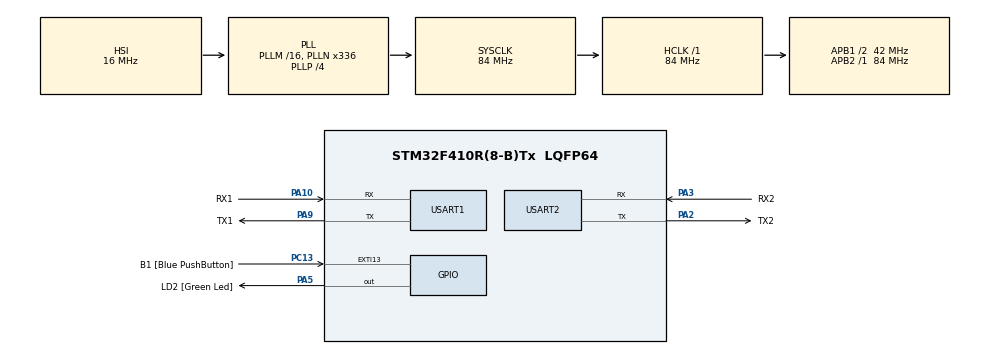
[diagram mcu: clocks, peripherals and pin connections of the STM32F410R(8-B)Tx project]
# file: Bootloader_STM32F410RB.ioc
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Mcu.Family=STM32F4
Mcu.Name=STM32F410R(8-B)Tx
Mcu.Package=LQFP64
NVIC.PriorityGroup=NVIC_PRIORITYGROUP_0
NVIC.USART1_IRQn=true\:0\:0\:false\:false\:true\:true
NVIC.USART2_IRQn=true\:0\:0\:false\:false\:true\:true
PA10.GPIO_Label=RX1
PA10.Mode=Asynchronous
PA10.Signal=USART1_RX
PA13.GPIO_Label=TMS
PA13.Mode=Serial_Wire
PA13.Signal=SYS_JTMS-SWDIO
PA14.GPIO_Label=TCK
PA14.Mode=Serial_Wire
PA14.Signal=SYS_JTCK-SWCLK
PA2.GPIO_Label=TX2
PA2.Mode=Asynchronous
PA2.Signal=USART2_TX
PA3.GPIO_Label=RX2
PA3.Mode=Asynchronous
PA3.Signal=USART2_RX
PA5.GPIO_Label=LD2 [Green Led]
PA5.Signal=GPIO_Output
PA9.GPIO_Label=TX1
PA9.Mode=Asynchronous
PA9.Signal=USART1_TX
PB3.GPIO_Label=SWO
PB3.Signal=SYS_JTDO-SWO
PC13-ANTI_TAMP.GPIO_Label=B1 [Blue PushButton]
PC13-ANTI_TAMP.GPIO_ModeDefaultEXTI=GPIO_MODE_IT_FALLING
PC13-ANTI_TAMP.Signal=GPXTI13
PC14-OSC32_IN.Mode=LSE-External-Oscillator
PC14-OSC32_IN.Signal=RCC_OSC32_IN
PC15-OSC32_OUT.Mode=LSE-External-Oscillator
PC15-OSC32_OUT.Signal=RCC_OSC32_OUT
PH0\ -\ OSC_IN.Mode=HSE-External-Clock-Source
PH0\ -\ OSC_IN.Signal=RCC_OSC_IN
PH1\ -\ OSC_OUT.Mode=HSE-External-Clock-Source
PH1\ -\ OSC_OUT.Signal=RCC_OSC_OUT
ProjectManager.HeapSize=0x200
ProjectManager.StackSize=0x400
ProjectManager.TargetToolchain=TrueSTUDIO
RCC.48MHZClocksFreq_Value=84000000
RCC.AHBFreq_Value=84000000
RCC.APB1CLKDivider=RCC_HCLK_DIV2
RCC.APB1Freq_Value=42000000
RCC.APB1TimFreq_Value=84000000
RCC.APB2Freq_Value=84000000
RCC.APB2TimFreq_Value=84000000
RCC.CortexFreq_Value=84000000
RCC.FLatency-AdvancedSettings=FLASH_LATENCY_2
RCC.HCLKFreq_Value=84000000
RCC.HSE_VALUE=8000000
RCC.HSI_VALUE=16000000
RCC.PLLN=336
RCC.PLLP=RCC_PLLP_DIV4
RCC.SYSCLKFreq_VALUE=84000000
RCC.SYSCLKSource=RCC_SYSCLKSOURCE_PLLCLK
RCC.VCOOutputFreq_Value=336000000
USART1.VirtualMode=VM_ASYNC
USART2.VirtualMode=VM_ASYNC
VP_CRC_VS_CRC.Mode=CRC_Activate
board=NUCLEO-F410RB

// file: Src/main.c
/* USER CODE BEGIN Header */
/**
  ******************************************************************************
  * @file           : main.c
  * @brief          : Main program body
  ******************************************************************************
  ** This notice applies to any and all portions of this file
  * that are not between comment pairs USER CODE BEGIN and
  * USER CODE END. Other portions of this file, whether
  * inserted by the user or by software development tools
  * are owned by their respective copyright owners.
  *
  * COPYRIGHT(c) 2020 STMicroelectronics
  *
  * Redistribution and use in source and binary forms, with or without modification,
  * are permitted provided that the following conditions are met:
  *   1. Redistributions of source code must retain the above copyright notice,
  *      this list of conditions and the following disclaimer.
  *   2. Redistributions in binary form must reproduce the above copyright notice,
  *      this list of conditions and the following disclaimer in the documentation
  *      and/or other materials provided with the distribution.
  *   3. Neither the name of STMicroelectronics nor the names of its contributors
  *      may be used to endorse or promote products derived from this software
  *      without specific prior written permission.
  *
  * THIS SOFTWARE IS PROVIDED BY THE COPYRIGHT HOLDERS AND CONTRIBUTORS "AS IS"
  * AND ANY EXPRESS OR IMPLIED WARRANTIES, INCLUDING, BUT NOT LIMITED TO, THE
  * IMPLIED WARRANTIES OF MERCHANTABILITY AND FITNESS FOR A PARTICULAR PURPOSE ARE
  * DISCLAIMED. IN NO EVENT SHALL THE COPYRIGHT HOLDER OR CONTRIBUTORS BE LIABLE
  * FOR ANY DIRECT, INDIRECT, INCIDENTAL, SPECIAL, EXEMPLARY, OR CONSEQUENTIAL
  * DAMAGES (INCLUDING, BUT NOT LIMITED TO, PROCUREMENT OF SUBSTITUTE GOODS OR
  * SERVICES; LOSS OF USE, DATA, OR PROFITS; OR BUSINESS INTERRUPTION) HOWEVER
  * CAUSED AND ON ANY THEORY OF LIABILITY, WHETHER IN CONTRACT, STRICT LIABILITY,
  * OR TORT (INCLUDING NEGLIGENCE OR OTHERWISE) ARISING IN ANY WAY OUT OF THE USE
  * OF THIS SOFTWARE, EVEN IF ADVISED OF THE POSSIBILITY OF SUCH DAMAGE.
  *
  ******************************************************************************
  */
/* USER CODE END Header */

#include "main.h"
#include<string.h>
#include<stdarg.h>

/* USER CODE BEGIN PD */
#define D_UART &huart2
#define B_UART &huart1
#define BL_DEBUG_MSG_EN
/* USER CODE END PD */

CRC_HandleTypeDef hcrc;

UART_HandleTypeDef huart1;
UART_HandleTypeDef huart2;

void SystemClock_Config(void);
static void MX_GPIO_Init(void);
static void MX_USART2_UART_Init(void);
static void MX_USART1_UART_Init(void);
static void MX_CRC_Init(void);
void debug(char *str);
void bootloader(char *str);
static void debugprint(char *format, ...);

/* USER CODE BEGIN 0 */
void debug(char *str)
{
	HAL_UART_Transmit(D_UART, (uint8_t*)str, strlen(str), 20000);
}

void bootloader(char *str)
{
	HAL_UART_Transmit(B_UART, (uint8_t*)str, strlen(str), 20000);
}

void debugprint(char *format, ...)
{
#ifdef BL_DEBUG_MSG_EN
	char str[1000];
	/*Extract the arguments list using Va apis */
	va_list args;
	va_start(args, format);
	vsprintf(str, format, args);
	HAL_UART_Transmit(D_UART, (uint8_t*)str, strlen(str), 20000);
#endif
}
/* USER CODE END 0 */

int main(void)
{

  /* MCU Configuration--------------------------------------------------------*/

  /* Reset of all peripherals, Initializes the Flash interface and the Systick. */
  HAL_Init();

  /* Configure the system clock */
  SystemClock_Config();

  /* Initialize all configured peripherals */
  MX_GPIO_Init();// We are using GPIO peripherals
  MX_USART2_UART_Init();//UART2 peripheral for Debugging
  MX_USART1_UART_Init();//UART1 peripheral for boot loader Command
  MX_CRC_Init();//CRC we are using to check data correction
  /* USER CODE BEGIN 2 */

  debugprint("Bootloader Debug: HELLO! From Bootloader!\r\n");
  /* USER CODE END 2 */

  /* Infinite loop */
  while (1)
  {

	  //bootloader("Hi, This is bootloader UART Testing\r\n");
	  if(HAL_GPIO_ReadPin(B1_GPIO_Port, B1_Pin) == GPIO_PIN_RESET)
	  {
		  debugprint("Button pressed\r\n");
	  }

	  //HAL_Delay(5000);
  }
}

void SystemClock_Config(void)
{
  RCC_OscInitTypeDef RCC_OscInitStruct = {0};
  RCC_ClkInitTypeDef RCC_ClkInitStruct = {0};

  /**Configure the main internal regulator output voltage
  */
  __HAL_RCC_PWR_CLK_ENABLE();
  __HAL_PWR_VOLTAGESCALING_CONFIG(PWR_REGULATOR_VOLTAGE_SCALE1);
  /**Initializes the CPU, AHB and APB busses clocks
  */
  RCC_OscInitStruct.OscillatorType = RCC_OSCILLATORTYPE_HSI;
  RCC_OscInitStruct.HSIState = RCC_HSI_ON;
  RCC_OscInitStruct.HSICalibrationValue = RCC_HSICALIBRATION_DEFAULT;
  RCC_OscInitStruct.PLL.PLLState = RCC_PLL_ON;
  RCC_OscInitStruct.PLL.PLLSource = RCC_PLLSOURCE_HSI;
  RCC_OscInitStruct.PLL.PLLM = 16;
  RCC_OscInitStruct.PLL.PLLN = 336;
  RCC_OscInitStruct.PLL.PLLP = RCC_PLLP_DIV4;
  RCC_OscInitStruct.PLL.PLLQ = 4;
  RCC_OscInitStruct.PLL.PLLR = 2;
  if (HAL_RCC_OscConfig(&RCC_OscInitStruct) != HAL_OK)
  {
    Error_Handler();
  }
  /**Initializes the CPU, AHB and APB busses clocks
  */
  RCC_ClkInitStruct.ClockType = RCC_CLOCKTYPE_HCLK|RCC_CLOCKTYPE_SYSCLK
                              |RCC_CLOCKTYPE_PCLK1|RCC_CLOCKTYPE_PCLK2;
  RCC_ClkInitStruct.SYSCLKSource = RCC_SYSCLKSOURCE_PLLCLK;
  RCC_ClkInitStruct.AHBCLKDivider = RCC_SYSCLK_DIV1;
  RCC_ClkInitStruct.APB1CLKDivider = RCC_HCLK_DIV2;
  RCC_ClkInitStruct.APB2CLKDivider = RCC_HCLK_DIV1;

  if (HAL_RCC_ClockConfig(&RCC_ClkInitStruct, FLASH_LATENCY_2) != HAL_OK)
  {
    Error_Handler();
  }
}

static void MX_CRC_Init(void)
{

  hcrc.Instance = CRC;
  if (HAL_CRC_Init(&hcrc) != HAL_OK)
  {
    Error_Handler();
  }

}

static void MX_USART1_UART_Init(void)
{

  huart1.Instance = USART1;
  huart1.Init.BaudRate = 115200;
  huart1.Init.WordLength = UART_WORDLENGTH_8B;
  huart1.Init.StopBits = UART_STOPBITS_1;
  huart1.Init.Parity = UART_PARITY_NONE;
  huart1.Init.Mode = UART_MODE_TX_RX;
  huart1.Init.HwFlowCtl = UART_HWCONTROL_NONE;
  huart1.Init.OverSampling = UART_OVERSAMPLING_16;
  if (HAL_UART_Init(&huart1) != HAL_OK)
  {
    Error_Handler();
  }

}

static void MX_USART2_UART_Init(void)
{

  huart2.Instance = USART2;
  huart2.Init.BaudRate = 115200;
  huart2.Init.WordLength = UART_WORDLENGTH_8B;
  huart2.Init.StopBits = UART_STOPBITS_1;
  huart2.Init.Parity = UART_PARITY_NONE;
  huart2.Init.Mode = UART_MODE_TX_RX;
  huart2.Init.HwFlowCtl = UART_HWCONTROL_NONE;
  huart2.Init.OverSampling = UART_OVERSAMPLING_16;
  if (HAL_UART_Init(&huart2) != HAL_OK)
  {
    Error_Handler();
  }

}

static void MX_GPIO_Init(void)
{
  GPIO_InitTypeDef GPIO_InitStruct = {0};

  /* GPIO Ports Clock Enable */
  __HAL_RCC_GPIOC_CLK_ENABLE();
  __HAL_RCC_GPIOH_CLK_ENABLE();
  __HAL_RCC_GPIOA_CLK_ENABLE();
  __HAL_RCC_GPIOB_CLK_ENABLE();

  /*Configure GPIO pin Output Level */
  HAL_GPIO_WritePin(LD2_GPIO_Port, LD2_Pin, GPIO_PIN_RESET);

  /*Configure GPIO pin : B1_Pin */
  GPIO_InitStruct.Pin = B1_Pin;
  GPIO_InitStruct.Mode = GPIO_MODE_IT_FALLING;
  GPIO_InitStruct.Pull = GPIO_NOPULL;
  HAL_GPIO_Init(B1_GPIO_Port, &GPIO_InitStruct);

  /*Configure GPIO pin : LD2_Pin */
  GPIO_InitStruct.Pin = LD2_Pin;
  GPIO_InitStruct.Mode = GPIO_MODE_OUTPUT_PP;
  GPIO_InitStruct.Pull = GPIO_NOPULL;
  GPIO_InitStruct.Speed = GPIO_SPEED_FREQ_LOW;
  HAL_GPIO_Init(LD2_GPIO_Port, &GPIO_InitStruct);

}

void Error_Handler(void)
{
}

/************************ (C) COPYRIGHT STMicroelectronics *****END OF FILE****/
